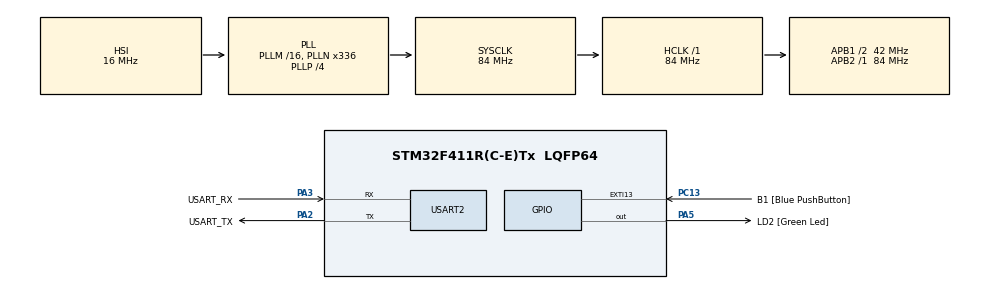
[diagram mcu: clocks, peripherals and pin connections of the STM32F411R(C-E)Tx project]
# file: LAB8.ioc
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Mcu.Family=STM32F4
Mcu.Name=STM32F411R(C-E)Tx
Mcu.Package=LQFP64
NVIC.PriorityGroup=NVIC_PRIORITYGROUP_0
NVIC.USART2_IRQn=true\:0\:0\:false\:false\:true\:true\:true
PA13.GPIO_Label=TMS
PA13.Mode=Serial_Wire
PA13.Signal=SYS_JTMS-SWDIO
PA14.GPIO_Label=TCK
PA14.Mode=Serial_Wire
PA14.Signal=SYS_JTCK-SWCLK
PA2.GPIO_Label=USART_TX
PA2.Mode=Asynchronous
PA2.Signal=USART2_TX
PA3.GPIO_Label=USART_RX
PA3.Mode=Asynchronous
PA3.Signal=USART2_RX
PA5.GPIO_Label=LD2 [Green Led]
PA5.Signal=GPIO_Output
PB3.GPIO_Label=SWO
PB3.Signal=SYS_JTDO-SWO
PC13-ANTI_TAMP.GPIO_Label=B1 [Blue PushButton]
PC13-ANTI_TAMP.GPIO_ModeDefaultEXTI=GPIO_MODE_IT_FALLING
PC13-ANTI_TAMP.Signal=GPXTI13
PC14-OSC32_IN.Mode=LSE-External-Oscillator
PC14-OSC32_IN.Signal=RCC_OSC32_IN
PC15-OSC32_OUT.Mode=LSE-External-Oscillator
PC15-OSC32_OUT.Signal=RCC_OSC32_OUT
PH0\ -\ OSC_IN.Mode=HSE-External-Clock-Source
PH0\ -\ OSC_IN.Signal=RCC_OSC_IN
PH1\ -\ OSC_OUT.Mode=HSE-External-Clock-Source
PH1\ -\ OSC_OUT.Signal=RCC_OSC_OUT
ProjectManager.HeapSize=0x200
ProjectManager.StackSize=0x400
ProjectManager.TargetToolchain=STM32CubeIDE
RCC.48MHZClocksFreq_Value=84000000
RCC.AHBFreq_Value=84000000
RCC.APB1CLKDivider=RCC_HCLK_DIV2
RCC.APB1Freq_Value=42000000
RCC.APB1TimFreq_Value=84000000
RCC.APB2Freq_Value=84000000
RCC.APB2TimFreq_Value=84000000
RCC.CortexFreq_Value=84000000
RCC.FLatency-AdvancedSettings=FLASH_LATENCY_2
RCC.HCLKFreq_Value=84000000
RCC.HSE_VALUE=8000000
RCC.HSI_VALUE=16000000
RCC.PLLN=336
RCC.PLLP=RCC_PLLP_DIV4
RCC.SYSCLKFreq_VALUE=84000000
RCC.SYSCLKSource=RCC_SYSCLKSOURCE_PLLCLK
RCC.VCOOutputFreq_Value=336000000
USART2.VirtualMode=VM_ASYNC
board=NUCLEO-F411RE

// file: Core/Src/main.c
/* USER CODE BEGIN Header */
/**
  ******************************************************************************
  * @file           : main.c
  * @brief          : Main program body
  ******************************************************************************
  * @attention
  *
  * <h2><center>&copy; Copyright (c) 2021 STMicroelectronics.
  * All rights reserved.</center></h2>
  *
  * This software component is licensed by ST under BSD 3-Clause license,
  * the "License"; You may not use this file except in compliance with the
  * License. You may obtain a copy of the License at:
  *                        opensource.org/licenses/BSD-3-Clause
  *
  ******************************************************************************
  */
/* USER CODE END Header */
#include "main.h"

/* USER CODE BEGIN Includes */
#include <stdio.h>
#include <string.h>
/* USER CODE END Includes */

UART_HandleTypeDef huart2;

/* USER CODE BEGIN PV */
char ADatabuffer[32] = {0};
char BDatabuffer[32] = {0};
int16_t inputchar = 0;
u_int8_t State_Now = 0;
uint64_t Time = 0;
uint64_t Delay = 500;
float Frequency = 1;
float Period;
int Mode = 0;
uint8_t Swtich[2]={0};
enum State
{
	State_Start = 000,
	State_Menu = 001,
	State_Menu1 = 010,
	State_Menu2 = 011,
	State_Choose_Menu = 100,
	State_Choose_Menu1 = 101,
	State_Choose_Menu2 = 110
};
/* USER CODE END PV */

void SystemClock_Config(void);
static void MX_GPIO_Init(void);
static void MX_USART2_UART_Init(void);
/* USER CODE BEGIN PFP */
int16_t UARTRecieve();
/* USER CODE END PFP */

int main(void)
{

  /* MCU Configuration--------------------------------------------------------*/

  /* Reset of all peripherals, Initializes the Flash interface and the Systick. */
  HAL_Init();

  /* Configure the system clock */
  SystemClock_Config();

  /* Initialize all configured peripherals */
  MX_GPIO_Init();
  MX_USART2_UART_Init();
  /* USER CODE BEGIN 2 */
  char Menu1[] = "a:SpeedLED Up\r\ns:SpeedLED Down\r\nd:On/Off\r\nx:Exit\r\n";
  char Menu2[] = "Show button status\r\nx:Exit\r\n";
  char Menu[] = "Menu1[0]\r\nMenu2[1]\r\n";
  char Buttonpress[] = "Press\r\n";
  char ButtonUnpress[] = "Unpress\r\n";

  /* USER CODE END 2 */

  /* Infinite loop */
  while (1)
  {

    /* USER CODE BEGIN 3 */
	  HAL_UART_Receive_IT(&huart2, (u_int8_t*)BDatabuffer, 32);
	  inputchar = UARTRecieve();
	  Swtich[0]=HAL_GPIO_ReadPin(GPIOC, GPIO_PIN_13);
	  if(inputchar > 0)
	  {
		  sprintf(ADatabuffer,"%c\r\n",inputchar);
		  HAL_UART_Transmit(&huart2, (u_int8_t*)ADatabuffer, strlen(ADatabuffer),10);
	  }
	  switch (State_Now)
	  {
		case State_Start:
			HAL_UART_Transmit(&huart2, (u_int8_t*)Menu, strlen(Menu),10);
			State_Now = State_Menu;
			break;
		case State_Menu:
			if(inputchar == '0')
			{
				State_Now = State_Menu1;
			}
			else if(inputchar == '1')
			{
				State_Now = State_Menu2;
			}
			else
			{
				State_Now = State_Menu;
			}
			break;
		case State_Menu1:
			HAL_UART_Transmit(&huart2, (u_int8_t*)Menu1, strlen(Menu1),10);
			State_Now = State_Choose_Menu1;
			break;
		case State_Menu2:
			HAL_UART_Transmit(&huart2, (u_int8_t*)Menu2, strlen(Menu2),10);
			State_Now = State_Choose_Menu2;
			break;
		case State_Choose_Menu1:
			if(inputchar == 'a')
			{
				Frequency += 1;
				Period = 1/Frequency;
				Delay = Period*500;
			}
			else if(inputchar == 's')
			{
				Frequency -= 1;
				Period = 1/Frequency;
				Delay = Period*500;
				if(Frequency < 0)
				{
					Frequency = 0;
				}
			}
			else if(inputchar == 'd')
			{
				if(Mode == 0 && HAL_GPIO_ReadPin(GPIOA, GPIO_PIN_5) == 0)
				{
					Mode = 1;
				}
				else if(Mode == 1)
				{
					HAL_GPIO_WritePin(GPIOA, GPIO_PIN_5, 0);
					Mode = 0;
				}
			}
			else if(inputchar == 'x')
			{
				State_Now = State_Start;
			}
			break;
		case State_Choose_Menu2:
			if(Swtich[0] == 0 && Swtich[1]==1)
			{
				HAL_UART_Transmit(&huart2, (u_int8_t*)Buttonpress, strlen(Buttonpress),10);
			}
			else if (Swtich[0] == 1 && Swtich[1]==0)
			{
				HAL_UART_Transmit(&huart2, (u_int8_t*)ButtonUnpress, strlen(ButtonUnpress),10);
			}
			Swtich[1]=Swtich[0];
			if(inputchar == 'x')
			{
				State_Now = State_Start;
			}
			break;
	}
	  if(Mode == 1)
	  {
		  if(HAL_GetTick() - Time > Delay)
		  	 {
		  	  	Time = HAL_GetTick();
		  	  	HAL_GPIO_TogglePin(GPIOA, GPIO_PIN_5);
		  	 }
	  }

  }
  /* USER CODE END 3 */
}

void SystemClock_Config(void)
{
  RCC_OscInitTypeDef RCC_OscInitStruct = {0};
  RCC_ClkInitTypeDef RCC_ClkInitStruct = {0};

  /** Configure the main internal regulator output voltage
  */
  __HAL_RCC_PWR_CLK_ENABLE();
  __HAL_PWR_VOLTAGESCALING_CONFIG(PWR_REGULATOR_VOLTAGE_SCALE1);
  /** Initializes the RCC Oscillators according to the specified parameters
  * in the RCC_OscInitTypeDef structure.
  */
  RCC_OscInitStruct.OscillatorType = RCC_OSCILLATORTYPE_HSI;
  RCC_OscInitStruct.HSIState = RCC_HSI_ON;
  RCC_OscInitStruct.HSICalibrationValue = RCC_HSICALIBRATION_DEFAULT;
  RCC_OscInitStruct.PLL.PLLState = RCC_PLL_ON;
  RCC_OscInitStruct.PLL.PLLSource = RCC_PLLSOURCE_HSI;
  RCC_OscInitStruct.PLL.PLLM = 16;
  RCC_OscInitStruct.PLL.PLLN = 336;
  RCC_OscInitStruct.PLL.PLLP = RCC_PLLP_DIV4;
  RCC_OscInitStruct.PLL.PLLQ = 4;
  if (HAL_RCC_OscConfig(&RCC_OscInitStruct) != HAL_OK)
  {
    Error_Handler();
  }
  /** Initializes the CPU, AHB and APB buses clocks
  */
  RCC_ClkInitStruct.ClockType = RCC_CLOCKTYPE_HCLK|RCC_CLOCKTYPE_SYSCLK
                              |RCC_CLOCKTYPE_PCLK1|RCC_CLOCKTYPE_PCLK2;
  RCC_ClkInitStruct.SYSCLKSource = RCC_SYSCLKSOURCE_PLLCLK;
  RCC_ClkInitStruct.AHBCLKDivider = RCC_SYSCLK_DIV1;
  RCC_ClkInitStruct.APB1CLKDivider = RCC_HCLK_DIV2;
  RCC_ClkInitStruct.APB2CLKDivider = RCC_HCLK_DIV1;

  if (HAL_RCC_ClockConfig(&RCC_ClkInitStruct, FLASH_LATENCY_2) != HAL_OK)
  {
    Error_Handler();
  }
}

static void MX_USART2_UART_Init(void)
{

  huart2.Instance = USART2;
  huart2.Init.BaudRate = 115200;
  huart2.Init.WordLength = UART_WORDLENGTH_8B;
  huart2.Init.StopBits = UART_STOPBITS_1;
  huart2.Init.Parity = UART_PARITY_NONE;
  huart2.Init.Mode = UART_MODE_TX_RX;
  huart2.Init.HwFlowCtl = UART_HWCONTROL_NONE;
  huart2.Init.OverSampling = UART_OVERSAMPLING_16;
  if (HAL_UART_Init(&huart2) != HAL_OK)
  {
    Error_Handler();
  }

}

static void MX_GPIO_Init(void)
{
  GPIO_InitTypeDef GPIO_InitStruct = {0};

  /* GPIO Ports Clock Enable */
  __HAL_RCC_GPIOC_CLK_ENABLE();
  __HAL_RCC_GPIOH_CLK_ENABLE();
  __HAL_RCC_GPIOA_CLK_ENABLE();
  __HAL_RCC_GPIOB_CLK_ENABLE();

  /*Configure GPIO pin Output Level */
  HAL_GPIO_WritePin(LD2_GPIO_Port, LD2_Pin, GPIO_PIN_RESET);

  /*Configure GPIO pin : B1_Pin */
  GPIO_InitStruct.Pin = B1_Pin;
  GPIO_InitStruct.Mode = GPIO_MODE_IT_FALLING;
  GPIO_InitStruct.Pull = GPIO_NOPULL;
  HAL_GPIO_Init(B1_GPIO_Port, &GPIO_InitStruct);

  /*Configure GPIO pin : LD2_Pin */
  GPIO_InitStruct.Pin = LD2_Pin;
  GPIO_InitStruct.Mode = GPIO_MODE_OUTPUT_PP;
  GPIO_InitStruct.Pull = GPIO_NOPULL;
  GPIO_InitStruct.Speed = GPIO_SPEED_FREQ_LOW;
  HAL_GPIO_Init(LD2_GPIO_Port, &GPIO_InitStruct);

}

/* USER CODE BEGIN 4 */
int16_t UARTRecieve()
{
	static uint32_t DataPosition = 0;
	int16_t Data = -1;
	if(huart2.RxXferSize - huart2.RxXferCount != DataPosition)
	{
		Data = BDatabuffer[DataPosition];
		DataPosition = (DataPosition + 1) % huart2.RxXferSize;
	}
	return Data;

}
void HAL_UART_RxCpltCallback(UART_HandleTypeDef *huart)
{
	sprintf(ADatabuffer, "%s\r\n", BDatabuffer);
	HAL_UART_Transmit(&huart2, (uint8_t*)ADatabuffer, strlen(ADatabuffer), 1000);
}
/* USER CODE END 4 */

void Error_Handler(void)
{
  __disable_irq();
  while (1)
  {
  }
}

/************************ (C) COPYRIGHT STMicroelectronics *****END OF FILE****/
